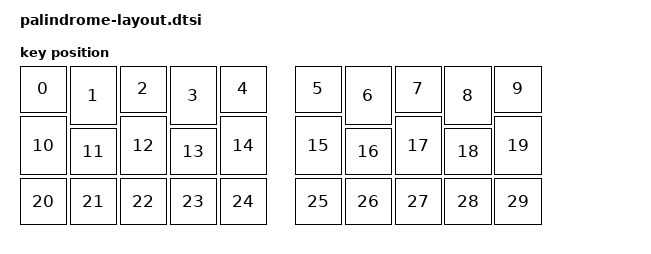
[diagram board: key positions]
/*
 * Copyright (c) 2026 Brandon Beltran
 *
 * SPDX-License-Identifier: MIT
 */

#include <physical_layouts.dtsi>

/ {
    physical_layout0: physical_layout_0 {
        compatible = "zmk,physical-layout";
        display-name = "Default";

        kscan = <&kscan0>;
        transform = <&default_transform>;

        keys  //                     w   h    x    y     rot    rx    ry
            = <&key_physical_attrs 100 100    0    0       0     0     0>
            , <&key_physical_attrs 100 125  100    0       0     0     0>
            , <&key_physical_attrs 100 100  200    0       0     0     0>
            , <&key_physical_attrs 100 125  300    0       0     0     0>
            , <&key_physical_attrs 100 100  400    0       0     0     0>
            , <&key_physical_attrs 100 100  550    0       0     0     0>
            , <&key_physical_attrs 100 125  650    0       0     0     0>
            , <&key_physical_attrs 100 100  750    0       0     0     0>
            , <&key_physical_attrs 100 125  850    0       0     0     0>
            , <&key_physical_attrs 100 100  950    0       0     0     0>
            , <&key_physical_attrs 100 125    0  100       0     0     0>
            , <&key_physical_attrs 100 100  100  125       0     0     0>
            , <&key_physical_attrs 100 125  200  100       0     0     0>
            , <&key_physical_attrs 100 100  300  125       0     0     0>
            , <&key_physical_attrs 100 125  400  100       0     0     0>
            , <&key_physical_attrs 100 125  550  100       0     0     0>
            , <&key_physical_attrs 100 100  650  125       0     0     0>
            , <&key_physical_attrs 100 125  750  100       0     0     0>
            , <&key_physical_attrs 100 100  850  125       0     0     0>
            , <&key_physical_attrs 100 125  950  100       0     0     0>
            , <&key_physical_attrs 100 100    0  225       0     0     0>
            , <&key_physical_attrs 100 100  100  225       0     0     0>
            , <&key_physical_attrs 100 100  200  225       0     0     0>
            , <&key_physical_attrs 100 100  300  225       0     0     0>
            , <&key_physical_attrs 100 100  400  225       0     0     0>
            , <&key_physical_attrs 100 100  550  225       0     0     0>
            , <&key_physical_attrs 100 100  650  225       0     0     0>
            , <&key_physical_attrs 100 100  750  225       0     0     0>
            , <&key_physical_attrs 100 100  850  225       0     0     0>
            , <&key_physical_attrs 100 100  950  225       0     0     0>
            ;
    };
};
